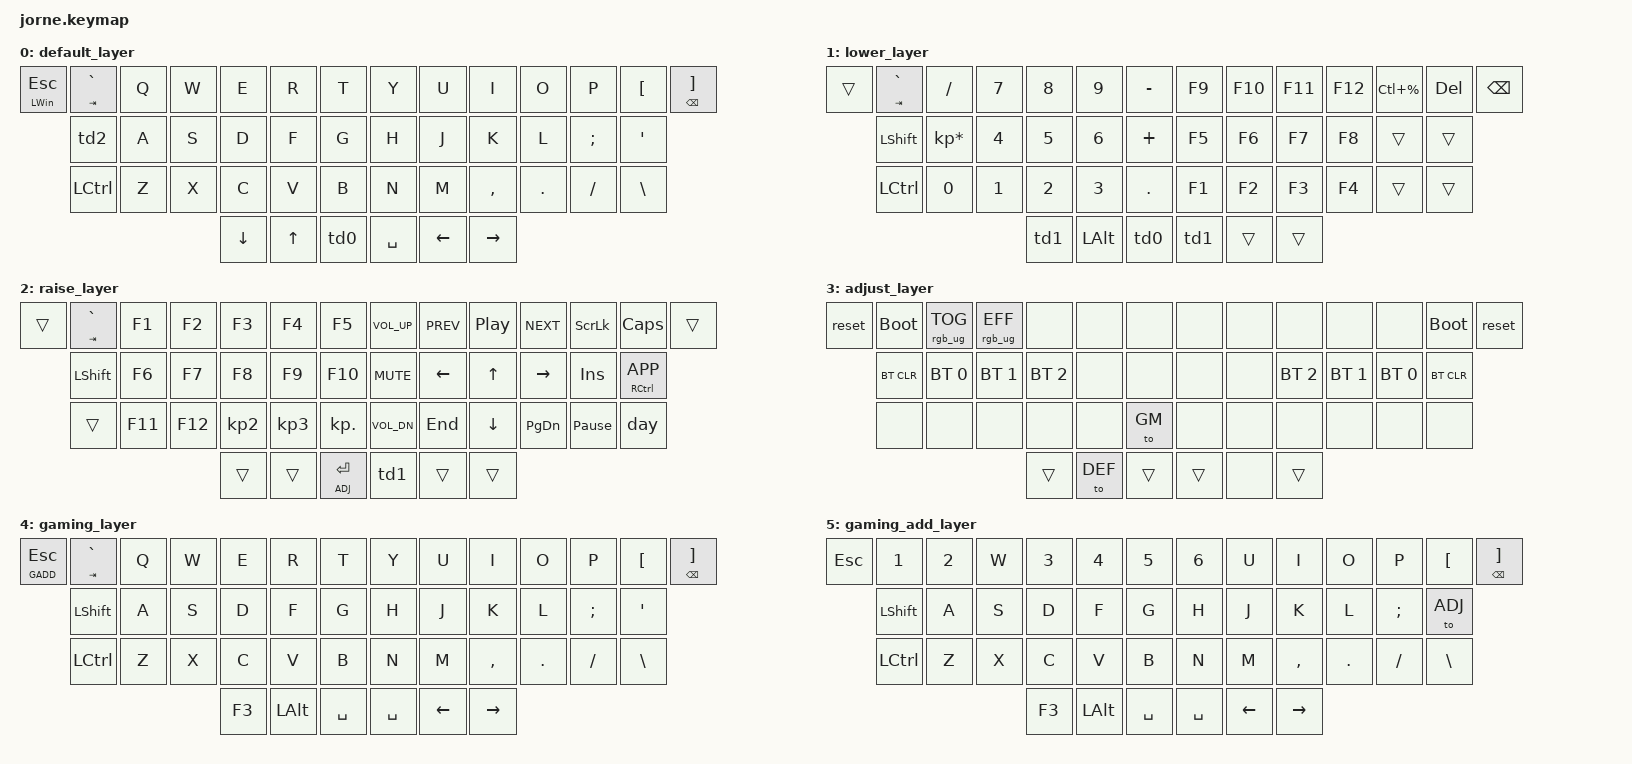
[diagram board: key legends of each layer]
/*
 * Copyright (c) 2020 The ZMK Contributors
 *
 * SPDX-License-Identifier: MIT
 */

#include <behaviors.dtsi>
#include <dt-bindings/zmk/keys.h>
#include <dt-bindings/zmk/bt.h>
#include <dt-bindings/zmk/rgb.h>

#define DEF 0
#define LWR 1
#define RSE 2
#define ADJ 3
#define GM 4
#define GADD 5

/ {
    behaviors {
        td0: tap_layer_change {
            compatible = "zmk,behavior-tap-dance";
            label = "layer_change";
            #binding-cells = <0>;
            tapping-term-ms = <200>;
            bindings = <&kp RET>, <&to LWR>, <&to DEF>;
        };
        td1: tap_layer_change1 {
            compatible = "zmk,behavior-tap-dance";
            label = "layer_change_1";
            #binding-cells = <0>;
            tapping-term-ms = <200>;
            bindings = <&kp SPACE>, <&to RSE>, <&to DEF>;
        };
        td2: tap_switch_lang {
            compatible = "zmk,behavior-tap-dance";
            label = "switch_lang";
            #binding-cells = <0>;
            tapping-term-ms = <200>;
            bindings = <&kp LSHIFT>, <&kp LA(LSHIFT)>;
        };
        macros {
        day: day {
            label = "day";
            compatible = "zmk,behavior-macro";
            #binding-cells = <0>;
            wait-ms = <0>;
            tap-ms = <0>;
            bindings
                = <&macro_press &kp LSHFT>
                , <&macro_tap &kp D &kp A &kp Y &kp SPACE &kp H &kp R &kp U &kp K &kp N &kp I>
                , <&macro_release &kp LSHFT>
                ;
        };
    };
    };
        keymap {
                compatible = "zmk,keymap";

                default_layer {
// -----------------------------------------------------------------------------------------
// |  GUI |   ~  |  Q  |  W  |  E  |  R  |  T  |   |  Y  |  U   |  I  |  O  |  P  |  [   | GUI/] |
//        | CTRL |  A  |  S  |  D  |  F  |  G  |   |  H  |  J   |  K  |  L  |  ;  |CTRL/'|
//        | LALT |  Z  |  X  |  C  |  V  |  B  |   |  N  |  M   |  ,  |  .  |  /  | RALT |
//                           | RSE | SPC | LWR |   | LWR | BKSP | RSE |
                        bindings = <
   &mt LWIN ESC         &mt TAB GRAVE &kp Q &kp W &kp E &kp R &kp T &kp Y     &kp U     &kp I       &kp O   &kp P    &kp LBKT &mt BSPC RBKT
            &td2        &kp A &kp S &kp D &kp F &kp G &kp H         &kp J     &kp K       &kp L   &kp SEMI &kp SQT
            &kp LCTRL   &kp Z &kp X &kp C &kp V &kp B &kp N         &kp M     &kp COMMA   &kp DOT &kp FSLH &kp BSLH
                                 &kp DOWN   &kp UP      &td0          &kp SPACE &kp LEFT &kp RIGHT
                        >;
                };
                lower_layer {
// -----------------------------------------------------------------------------------------
// |     |  _  |  F1 |  F2 |  F3 |  F4 |  F5 |   |  F6 |  F7 |  F8 |  F9 | F10 | F11 | F12 |
//       |  +  |  !  |  @  |  #  |  $  |  %  |   |  ^  |  &  |  *  |  (  |  )  |  -  |
//       |  =  |  1  |  2  |  3  |  4  |  5  |   |  6  |  7  |  8  |  9  |  0  |     |
//                    | GUI |     | SPC |   | ENT |     | ALT |
                        bindings = <
   &trans &mt TAB GRAVE &kp SLASH      &kp N7 &kp N8 &kp N9 &kp MINUS    &kp F9    &kp F10  &kp F11  &kp F12 &kp LC(PRCNT)  &kp DEL &kp BSPC
          &kp LSHIFT   &kp KP_MULTIPLY &kp N4 &kp N5 &kp N6 &kp PLUS     &kp F5    &kp F6   &kp F7   &kp F8  &trans         &trans
          &kp LCTRL &kp N0             &kp N1 &kp N2 &kp N3 &kp DOT      &kp F1    &kp F2   &kp F3   &kp F4  &trans         &trans
                                           &td1 &kp LALT  &td0          &td1 &trans &trans
                        >;
                };
                raise_layer {
// -----------------------------------------------------------------------------------------
// |     | NMLK |  /  |  7  |  8  |  9  |  -  |   | VOLU| HOME| PRSC| PGUP| SCLK| CLCK|     |
//       | CTRL |  *  |  4  |  5  |  6  |  +  |   | MUT | LEFT|  UP | RGHT| INS | APP |
//       |      |  0  |  1  |  2  |  3  |  .  |   | VOLD| END | DOWN| PGDN| PAUS|     |
//                          |     |     | ADJ |   | ADJ |     |     |
                        bindings = <
   &trans &mt TAB GRAVE  &kp F1    &kp F2  &kp F3 &kp F4 &kp F5                    &kp C_VOL_UP &kp C_PREV &kp C_PP &kp C_NEXT &kp SLCK &kp CAPS &trans
          &kp LSHFT      &kp F6    &kp F7  &kp F8 &kp F9 &kp F10                   &kp C_MUTE   &kp LEFT   &kp UP   &kp RIGHT &kp INS  &mt RCTRL K_APP
          &trans         &kp F11   &kp F12 &kp KP_N2 &kp KP_N3 &kp KP_DOT          &kp C_VOL_DN &kp END  &kp DOWN  &kp PG_DN &kp PAUSE_BREAK &day
                                                &trans &trans &lt ADJ RET          &td1 &trans &trans
                        >;
                };
                adjust_layer {
// -----------------------------------------------------------------------------------------
// | RST | BLDR |     |     |     |     |     |   |     |     |     |     |     | BLDR | RST |
//       | BTCLR| BT0 | BT1 | BT2 | BT3 | BT4 |   | BT4 | BT3 | BT2 | BT1 | BT0 | BTCLR|
//       |      |     |     |     |     |     |   |     |     |     |     |     |      |
//                          |     |     |     |   |     |     |     |
                        bindings = <
   &reset &bootloader  &rgb_ug RGB_TOG  &rgb_ug RGB_EFF        &none        &none        &none              &none        &none        &none        &none        &none         &bootloader &reset
          &bt BT_CLR   &bt BT_SEL 0     &bt BT_SEL 1 &bt BT_SEL 2 &none        &none              &none        &none        &bt BT_SEL 2 &bt BT_SEL 1 &bt BT_SEL 0  &bt BT_CLR
          &none        &none        &none        &none        &none        &to GM              &none        &none        &none        &none        &none         &none
                                                                    &trans &to DEF &trans   &trans &none &trans
                        >;
                };
                gaming_layer {
// -----------------------------------------------------------------------------------------
// | RST | BLDR |     |     |     |     |     |   |     |     |     |     |     | BLDR | RST |
//       | BTCLR| BT0 | BT1 | BT2 | BT3 | BT4 |   | BT4 | BT3 | BT2 | BT1 | BT0 | BTCLR|
//       |      |     |     |     |     |     |   |     |     |     |     |     |      |
//                          |     |     |     |   |     |     |     |
                        bindings = <
   &lt GADD ESC &mt TAB GRAVE  &kp Q &kp W &kp E &kp R &kp T &kp Y              &kp U     &kp I       &kp O   &kp P    &kp LBKT &mt BSPC RBKT
            &kp LSHIFT    &kp A &kp S &kp D &kp F &kp G &kp H              &kp J     &kp K       &kp L   &kp SEMI &kp SQT
            &kp LCTRL     &kp Z &kp X &kp C &kp V &kp B &kp N              &kp M     &kp COMMA   &kp DOT &kp FSLH &kp BSLH
                                 &kp F3  &kp LALT      &kp SPACE          &kp SPACE &kp LEFT &kp RIGHT
                        >;
                };
                gaming_add_layer {
// -----------------------------------------------------------------------------------------
// | RST | BLDR |     |     |     |     |     |   |     |     |     |     |     | BLDR | RST |
//       | BTCLR| BT0 | BT1 | BT2 | BT3 | BT4 |   | BT4 | BT3 | BT2 | BT1 | BT0 | BTCLR|
//       |      |     |     |     |     |     |   |     |     |     |     |     |      |
//                          |     |     |     |   |     |     |     |
                        bindings = <
   &kp ESC &kp N1  &kp N2 &kp W &kp N3 &kp N4 &kp N5        &kp N6              &kp U     &kp I       &kp O   &kp P    &kp LBKT &mt BSPC RBKT
            &kp LSHIFT    &kp A  &kp S &kp D  &kp F  &kp G  &kp H              &kp J     &kp K       &kp L   &kp SEMI &to ADJ
            &kp LCTRL     &kp Z  &kp X &kp C  &kp V  &kp B  &kp N              &kp M     &kp COMMA   &kp DOT &kp FSLH &kp BSLH
                                 &kp F3   &kp LALT      &kp SPACE               &kp SPACE &kp LEFT &kp RIGHT
                        >;
                };
        };
};
